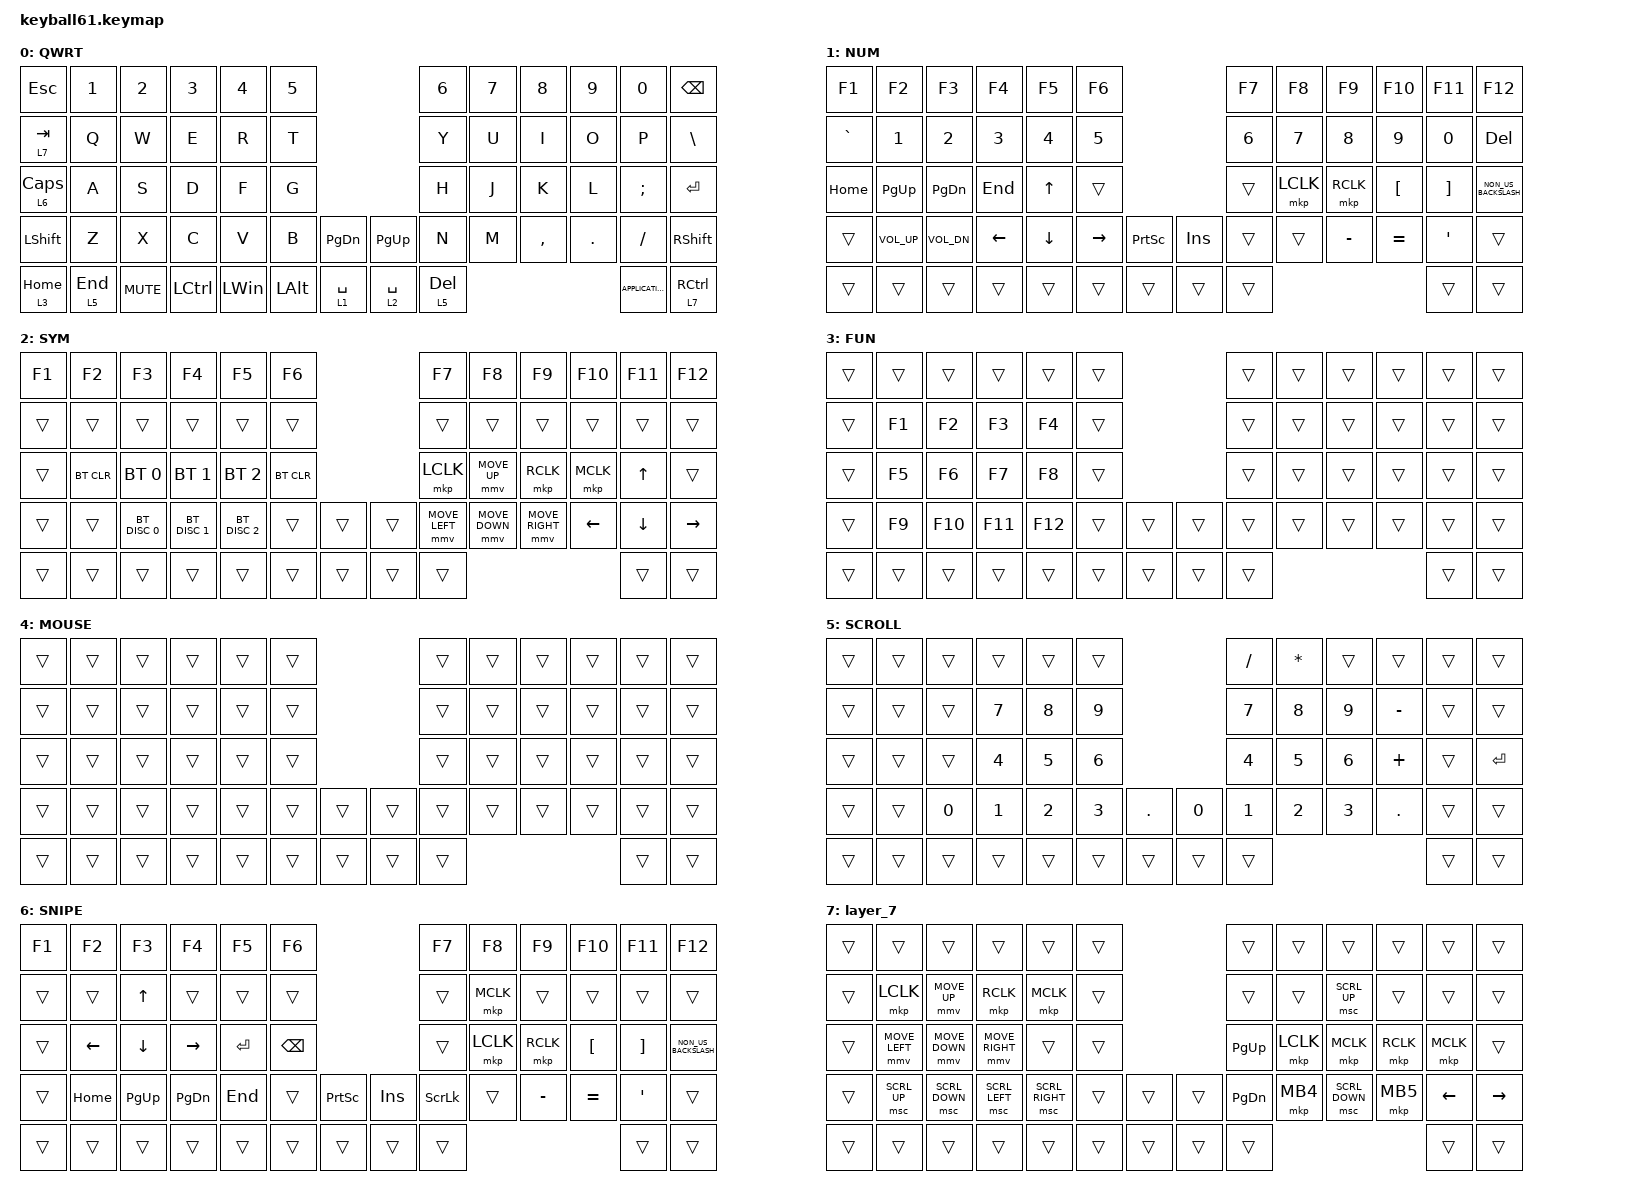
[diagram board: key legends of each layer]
#define DEFAULT 0
#define SYM     1
#define FUN     2
#define MOUSE   3
#define SCROLL  4
#define SNIPE   5

#include <behaviors/mouse_keys.dtsi>
#include <dt-bindings/zmk/mouse.h>
#include <behaviors.dtsi>
#include <dt-bindings/zmk/bt.h>
#include <dt-bindings/zmk/keys.h>
#include <dt-bindings/zmk/pointing.h>

&lt {
    tapping-term-ms = <250>;
    flavor = "balanced";
    quick-tap-ms = <150>;
};

&mt {
    tapping-term-ms = <200>;
    flavor = "tap-preferred";
    quick-tap-ms = <150>;
};

/ {
    keymap {
        compatible = "zmk,keymap";

        default_layer {
            label = "QWRT";
            bindings = <
&kp ESC         &kp N1     &kp N2      &kp N3            &kp N4        &kp N5                                    &kp N6     &kp N7  &kp N8     &kp N9   &kp N0             &kp BACKSPACE
&lt 7 TAB       &kp Q      &kp W       &kp E             &kp R         &kp T                                     &kp Y      &kp U   &kp I      &kp O    &kp P              &kp BACKSLASH
&lt 6 CAPSLOCK  &kp A      &kp S       &kp D             &kp F         &kp G                                     &kp H      &kp J   &kp K      &kp L    &kp SEMI           &kp ENTER
&kp LEFT_SHIFT  &kp Z      &kp X       &kp C             &kp V         &kp B         &kp PAGE_DOWN  &kp PAGE_UP  &kp N      &kp M   &kp COMMA  &kp DOT  &kp FSLH           &kp RIGHT_SHIFT
&lt 3 HOME      &lt 5 END  &kp C_MUTE  &kp LEFT_CONTROL  &kp LEFT_WIN  &kp LEFT_ALT  &lt 1 SPACE    &lt 2 SPACE  &lt 5 DEL                              &kp K_APPLICATION  &lt 7 RIGHT_CONTROL
            >;
        };

        number_layer {
            bindings = <
&kp F1     &kp F2           &kp F3         &kp F4          &kp F5        &kp F6                               &kp F7  &kp F8     &kp F9     &kp F10           &kp F11            &kp F12
&kp GRAVE  &kp N1           &kp N2         &kp N3          &kp N4        &kp N5                               &kp N6  &kp N7     &kp N8     &kp N9            &kp N0             &kp DELETE
&kp HOME   &kp PAGE_UP      &kp PAGE_DOWN  &kp END         &kp UP_ARROW  &trans                               &trans  &mkp LCLK  &mkp RCLK  &kp LEFT_BRACKET  &kp RIGHT_BRACKET  &kp NON_US_BACKSLASH
&trans     &kp C_VOLUME_UP  &kp C_VOL_DN   &kp LEFT_ARROW  &kp DOWN      &kp RIGHT  &kp PRINTSCREEN  &kp INS  &trans  &trans     &kp MINUS  &kp EQUAL         &kp SQT            &trans
&trans     &trans           &trans         &trans          &trans        &trans     &trans           &trans   &trans                                          &trans             &trans
            >;

            label = "NUM";
        };

        symbol_layer {
            label = "SYM";
            bindings = <
&kp F1  &kp F2      &kp F3         &kp F4         &kp F5         &kp F6                      &kp F7          &kp F8          &kp F9           &kp F10    &kp F11       &kp F12
&trans  &trans      &trans         &trans         &trans         &trans                      &trans          &trans          &trans           &trans     &trans        &trans
&trans  &bt BT_CLR  &bt BT_SEL 0   &bt BT_SEL 1   &bt BT_SEL 2   &bt BT_CLR                  &mkp LCLK       &mmv MOVE_UP    &mkp RCLK        &mkp MCLK  &kp UP_ARROW  &trans
&trans  &trans      &bt BT_DISC 0  &bt BT_DISC 1  &bt BT_DISC 2  &trans      &trans  &trans  &mmv MOVE_LEFT  &mmv MOVE_DOWN  &mmv MOVE_RIGHT  &kp LEFT   &kp DOWN      &kp RIGHT
&trans  &trans      &trans         &trans         &trans         &trans      &trans  &trans  &trans                                                      &trans        &trans
            >;
        };

        function_layer {
            label = "FUN";
            bindings = <
&trans  &trans  &trans   &trans   &trans   &trans                  &trans  &trans  &trans  &trans  &trans  &trans
&trans  &kp F1  &kp F2   &kp F3   &kp F4   &trans                  &trans  &trans  &trans  &trans  &trans  &trans
&trans  &kp F5  &kp F6   &kp F7   &kp F8   &trans                  &trans  &trans  &trans  &trans  &trans  &trans
&trans  &kp F9  &kp F10  &kp F11  &kp F12  &trans  &trans  &trans  &trans  &trans  &trans  &trans  &trans  &trans
&trans  &trans  &trans   &trans   &trans   &trans  &trans  &trans  &trans                          &trans  &trans
            >;
        };

        mouse_layer {
            label = "MOUSE";
            bindings = <
&trans  &trans  &trans  &trans  &trans  &trans                   &trans  &trans  &trans  &trans  &trans  &trans
&trans  &trans  &trans  &trans  &trans  &trans                   &trans  &trans  &trans  &trans  &trans  &trans
&trans  &trans  &trans  &trans  &trans  &trans                   &trans  &trans  &trans  &trans  &trans  &trans
&trans  &trans  &trans  &trans  &trans  &trans  &trans   &trans  &trans  &trans  &trans  &trans  &trans  &trans
&trans  &trans  &trans  &trans  &trans  &trans  &trans   &trans  &trans                          &trans  &trans
            >;
        };

        scroll_layer {
            label = "SCROLL";
            bindings = <
&trans  &trans  &trans  &trans  &trans  &trans                   &kp SLASH  &kp ASTERISK  &trans  &trans     &trans  &trans
&trans  &trans  &trans  &kp N7  &kp N8  &kp N9                   &kp N7     &kp N8        &kp N9  &kp MINUS  &trans  &trans
&trans  &trans  &trans  &kp N4  &kp N5  &kp N6                   &kp N4     &kp N5        &kp N6  &kp PLUS   &trans  &kp RETURN
&trans  &trans  &kp N0  &kp N1  &kp N2  &kp N3  &kp DOT  &kp N0  &kp N1     &kp N2        &kp N3  &kp DOT    &trans  &trans
&trans  &trans  &trans  &trans  &trans  &trans  &trans   &trans  &trans                                      &trans  &trans
            >;
        };

        snipe_layer {
            label = "SNIPE";
            bindings = <
&kp F1  &kp F2    &kp F3        &kp F4         &kp F5     &kp F6                                   &kp F7          &kp F8     &kp F9     &kp F10           &kp F11            &kp F12
&trans  &trans    &kp UP_ARROW  &trans         &trans     &trans                                   &trans          &mkp MCLK  &trans     &trans            &trans             &trans
&trans  &kp LEFT  &kp DOWN      &kp RIGHT      &kp ENTER  &kp BACKSPACE                            &trans          &mkp LCLK  &mkp RCLK  &kp LEFT_BRACKET  &kp RIGHT_BRACKET  &kp NON_US_BACKSLASH
&trans  &kp HOME  &kp PAGE_UP   &kp PAGE_DOWN  &kp END    &trans         &kp PRINTSCREEN  &kp INS  &kp SCROLLLOCK  &trans     &kp MINUS  &kp EQUAL         &kp SQT            &trans
&trans  &trans    &trans        &trans         &trans     &trans         &trans           &trans   &trans                                                  &trans             &trans
            >;
        };

        layer_7 {
            bindings = <
&trans  &trans          &trans          &trans           &trans           &trans                  &trans         &trans     &trans          &trans     &trans          &trans
&trans  &mkp LCLK       &mmv MOVE_UP    &mkp RCLK        &mkp MCLK        &trans                  &trans         &trans     &msc SCRL_UP    &trans     &trans          &trans
&trans  &mmv MOVE_LEFT  &mmv MOVE_DOWN  &mmv MOVE_RIGHT  &trans           &trans                  &kp PAGE_UP    &mkp LCLK  &mkp MCLK       &mkp RCLK  &mkp MCLK       &trans
&trans  &msc SCRL_UP    &msc SCRL_DOWN  &msc SCRL_LEFT   &msc SCRL_RIGHT  &trans  &trans  &trans  &kp PAGE_DOWN  &mkp MB4   &msc SCRL_DOWN  &mkp MB5   &kp LEFT_ARROW  &kp RIGHT
&trans  &trans          &trans          &trans           &trans           &trans  &trans  &trans  &trans                                               &trans          &trans
            >;
        };
    };
};
